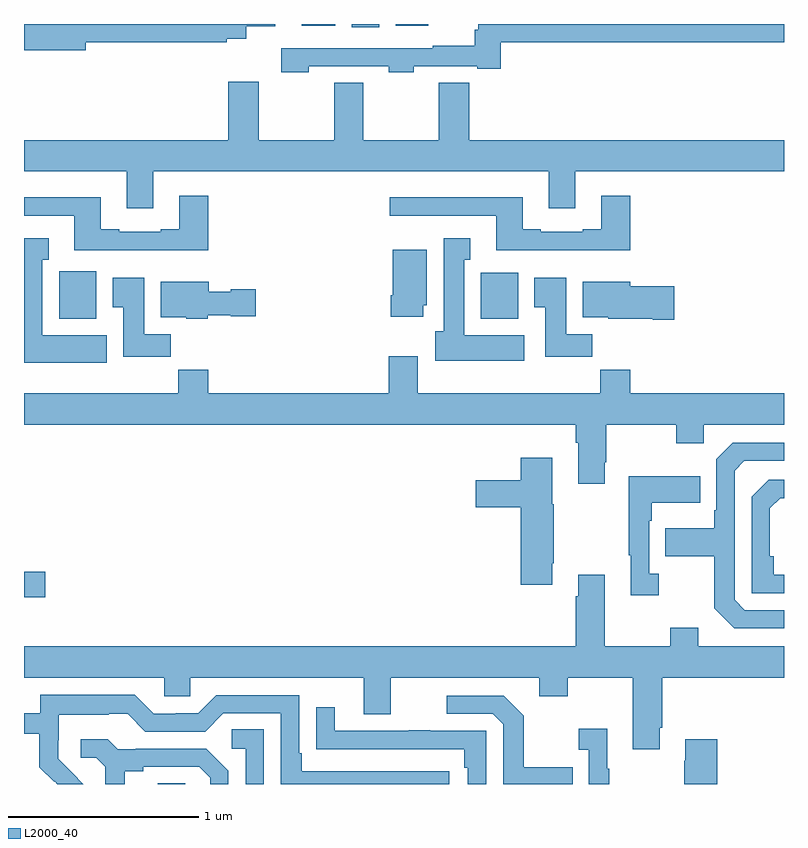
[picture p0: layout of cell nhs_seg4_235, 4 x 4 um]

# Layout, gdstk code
import gdstk
lib = gdstk.Library(unit=1e-6, precision=1e-09)
def R(c, l, rs):  # rectangles x0, y0, x1, y1
    for r in rs: c.add(gdstk.rectangle(r[:2], r[2:], *l))
def P(c, l, *ps):  # polygons
    for p in ps: c.add(gdstk.Polygon(p, *l))
L2000_40 = (2000, 40)

nhs_seg4_235 = lib.new_cell('nhs_seg4_235')
R(nhs_seg4_235, L2000_40, [(121.703,822.9,121.848,822.905), (121,823.883,121.111,824.018), (121.185,825.35,121.381,825.6), (123.404,825.35,123.601,825.592), (122.726,826.884,122.869,826.9), (122.462,826.892,122.638,826.9), (122.957,826.892,123.127,826.9)])
P(nhs_seg4_235, L2000_40, [(122.499,826.677),(122.919,826.677),(122.919,826.645),(123.051,826.645),(123.051,826.677),(123.386,826.677),(123.386,826.665),(123.509,826.665),(123.509,826.804),(125,826.804),(125,826.9),(123.392,826.9),(123.392,826.87),(123.373,826.87),(123.373,826.786),(123.151,826.786),(123.151,826.773),(122.355,826.773),(122.355,826.645),(122.499,826.645)],
  [(121.324,826.804),(122.066,826.804),(122.066,826.822),(122.169,826.822),(122.169,826.889),(122.323,826.889),(122.323,826.9),(121,826.9),(121,826.762),(121.324,826.762)],
  [(121.681,826.124),(123.761,826.124),(123.761,825.93),(123.901,825.93),(123.901,826.124),(125,826.124),(125,826.288),(123.344,826.288),(123.344,826.592),(123.184,826.592),(123.184,826.288),(122.786,826.288),(122.786,826.592),(122.632,826.592),(122.632,826.288),(122.235,826.288),(122.235,826.597),(122.075,826.597),(122.075,826.288),(121,826.288),(121,826.124),(121.541,826.124),(121.541,825.93),(121.681,825.93)],
  [(124.19,825.997),(124.037,825.997),(124.037,825.82),(123.941,825.82),(123.941,825.807),(123.721,825.807),(123.721,825.82),(123.625,825.82),(123.625,825.988),(122.925,825.988),(122.925,825.891),(123.485,825.891),(123.485,825.71),(124.19,825.71)],
  [(121.97,825.997),(121.817,825.997),(121.817,825.82),(121.721,825.82),(121.721,825.807),(121.501,825.807),(121.501,825.82),(121.405,825.82),(121.405,825.988),(121,825.988),(121,825.891),(121.265,825.891),(121.265,825.71),(121.97,825.71)],
  [(121.435,825.262),(121.096,825.262),(121.096,825.659),(121.129,825.659),(121.129,825.772),(121,825.772),(121,825.116),(121.435,825.116)],
  [(123.634,825.262),(123.316,825.262),(123.316,825.659),(123.349,825.659),(123.349,825.772),(123.209,825.772),(123.209,825.282),(123.164,825.282),(123.164,825.128),(123.634,825.128)],
  [(123.1,825.42),(123.121,825.42),(123.121,825.712),(122.942,825.712),(122.942,825.472),(122.93,825.472),(122.93,825.36),(123.1,825.36)],
  [(121.772,825.268),(121.633,825.268),(121.633,825.565),(121.466,825.565),(121.466,825.409),(121.523,825.409),(121.523,825.15),(121.772,825.15)],
  [(123.992,825.268),(123.853,825.268),(123.853,825.565),(123.686,825.565),(123.686,825.409),(123.743,825.409),(123.743,825.15),(123.992,825.15)],
  [(124.423,825.521),(124.192,825.521),(124.192,825.544),(123.941,825.544),(123.941,825.356),(124.074,825.356),(124.074,825.35),(124.31,825.35),(124.31,825.343),(124.423,825.343)],
  [(121.968,825.368),(122.088,825.368),(122.088,825.361),(122.221,825.361),(122.221,825.503),(122.088,825.503),(122.088,825.49),(121.972,825.49),(121.972,825.544),(121.721,825.544),(121.721,825.356),(121.854,825.356),(121.854,825.35),(121.968,825.35)],
  [(124.057,824.593),(124.065,824.593),(124.065,824.792),(124.432,824.792),(124.432,824.693),(124.578,824.693),(124.578,824.792),(125,824.792),(125,824.956),(124.19,824.956),(124.19,825.08),(124.033,825.08),(124.033,824.956),(123.073,824.956),(123.073,825.151),(122.921,825.151),(122.921,824.956),(121.97,824.956),(121.97,825.08),(121.813,825.08),(121.813,824.956),(121,824.956),(121,824.792),(123.905,824.792),(123.905,824.696),(123.917,824.696),(123.917,824.481),(124.057,824.481)],
  [(125,823.815),(124.794,823.815),(124.74,823.869),(124.74,824.55),(124.791,824.601),(125,824.601),(125,824.697),(124.731,824.697),(124.644,824.61),(124.644,824.341),(124.632,824.341),(124.632,824.245),(124.375,824.245),(124.375,824.098),(124.632,824.098),(124.632,823.825),(124.737,823.719),(125,823.719)],
  [(123.781,824.062),(123.789,824.062),(123.789,824.373),(123.781,824.373),(123.781,824.617),(123.614,824.617),(123.614,824.499),(123.378,824.499),(123.378,824.357),(123.614,824.357),(123.614,823.95),(123.781,823.95)],
  [(124.342,824.006),(124.29,824.006),(124.29,824.285),(124.303,824.285),(124.303,824.381),(124.559,824.381),(124.559,824.521),(124.182,824.521),(124.182,824.105),(124.193,824.105),(124.193,823.893),(124.342,823.893)],
  [(125,824.001),(124.946,824.001),(124.946,824.098),(124.926,824.098),(124.926,824.352),(124.979,824.405),(125,824.405),(125,824.502),(124.92,824.502),(124.83,824.412),(124.83,823.905),(125,823.905)],
  [(124.345,823.195),(124.358,823.195),(124.358,823.46),(125,823.46),(125,823.624),(124.549,823.624),(124.549,823.723),(124.402,823.723),(124.402,823.624),(124.057,823.624),(124.057,824.002),(123.917,824.002),(123.917,823.889),(123.905,823.889),(123.905,823.624),(121,823.624),(121,823.46),(121.737,823.46),(121.737,823.362),(121.875,823.362),(121.875,823.46),(122.789,823.46),(122.789,823.266),(122.929,823.266),(122.929,823.46),(123.713,823.46),(123.713,823.361),(123.861,823.361),(123.861,823.46),(124.205,823.46),(124.205,823.083),(124.345,823.083)],
  [(121.253,822.959),(121.254,822.96),(121.18,823.034),(121.18,823.131),(121.182,823.131),(121.182,823.265),(121.445,823.265),(121.445,823.269),(121.545,823.269),(121.638,823.176),(121.953,823.176),(122.049,823.272),(122.352,823.272),(122.352,822.9),(123.238,822.9),(123.238,822.966),(122.461,822.966),(122.461,823.063),(122.448,823.063),(122.448,823.368),(122.013,823.368),(121.917,823.272),(121.799,823.272),(121.799,823.269),(121.683,823.269),(121.583,823.369),(121.086,823.369),(121.086,823.272),(121,823.272),(121,823.164),(121.081,823.164),(121.081,822.989),(121.158,822.912),(121.161,822.915),(121.176,822.9),(121.312,822.9)],
  [(123.887,822.987),(123.631,822.987),(123.631,823.259),(123.525,823.365),(123.225,823.365),(123.225,823.269),(123.468,823.269),(123.522,823.215),(123.522,822.9),(123.887,822.9)],
  [(123.432,823.179),(123.137,823.179),(123.137,823.184),(123.025,823.184),(123.025,823.179),(122.635,823.179),(122.635,823.303),(122.539,823.303),(122.539,823.084),(122.641,823.084),(122.641,823.083),(123.316,823.083),(123.316,822.986),(123.336,822.986),(123.336,822.9),(123.432,822.9)],
  [(124.081,822.979),(124.069,822.979),(124.069,823.192),(123.921,823.192),(123.921,823.079),(123.972,823.079),(123.972,822.9),(124.081,822.9)],
  [(122.262,823.187),(122.094,823.187),(122.094,823.086),(122.166,823.086),(122.166,822.9),(122.262,822.9)],
  [(121.531,822.968),(121.627,822.968),(121.627,822.99),(121.922,822.99),(121.979,822.933),(121.979,822.9),(122.076,822.9),(122.076,822.97),(121.96,823.086),(121.588,823.086),(121.588,823.083),(121.494,823.083),(121.442,823.135),(121.299,823.135),(121.299,823.038),(121.38,823.038),(121.427,822.991),(121.427,822.9),(121.531,822.9)],
  [(124.649,823.135),(124.481,823.135),(124.481,823.022),(124.474,823.022),(124.474,822.9),(124.649,822.9)])

lib.write_gds('nhs_seg4_235.gds')
